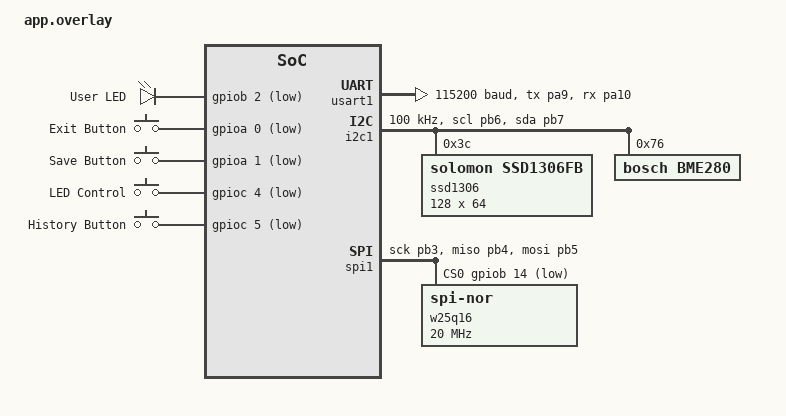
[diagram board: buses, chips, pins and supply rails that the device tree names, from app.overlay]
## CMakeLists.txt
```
cmake_minimum_required(VERSION 3.20)
find_package(Zephyr REQUIRED HINTS $ENV{ZEPHYR_BASE})
project(my_stm32_app)

target_sources(app PRIVATE src/main.c src/app_logic.c)
```

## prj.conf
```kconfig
# GPIO for LED
CONFIG_GPIO=y

# Console and Logging
CONFIG_LOG=y
CONFIG_LOG_MODE_IMMEDIATE=y
CONFIG_SERIAL=y
CONFIG_CONSOLE=y
CONFIG_UART_CONSOLE=y

# Floating Point Support for printk/LOG
CONFIG_CBPRINTF_FP_SUPPORT=y

# Stack Size
CONFIG_MAIN_STACK_SIZE=4096

# Heap (Required for CFB)
CONFIG_HEAP_MEM_POOL_SIZE=4096

# I2C and Display
CONFIG_I2C=y
CONFIG_DISPLAY=y
CONFIG_SSD1306=y
CONFIG_CHARACTER_FRAMEBUFFER=y

# SPI and Flash
CONFIG_SPI=y
CONFIG_FLASH=y
CONFIG_SPI_NOR=y

# Sensors
CONFIG_SENSOR=y
CONFIG_BME280=y
```

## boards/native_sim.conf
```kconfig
# Enable Simulation Drivers
CONFIG_GPIO_EMUL=n
CONFIG_FLASH_SIMULATOR=n
CONFIG_SPI=n
CONFIG_SPI_NOR=n

# Drivers
CONFIG_SENSOR=n
CONFIG_LM75=n
CONFIG_BME280=n

CONFIG_DISPLAY=n
CONFIG_DUMMY_DISPLAY=n
CONFIG_SSD1306=n

# Disable SDL
CONFIG_SDL_DISPLAY=n

# Console
CONFIG_UART_CONSOLE=y
CONFIG_SERIAL=y
CONFIG_CONSOLE=y
```

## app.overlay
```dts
/ {
	chosen {
		zephyr,console = &usart1;
		zephyr,shell-uart = &usart1;
		zephyr,display = &ssd1306;
	};

	aliases {
		led0 = &led_p6;
		oled0 = &ssd1306;
		temp0 = &bme280;
		flash0 = &w25q16;
		sw0 = &button_exit;
		sw1 = &button_save;
		sw2 = &button_led;
		sw3 = &button_hist;
	};

	leds {
		compatible = "gpio-leds";
		led_p6: led_p6 {
			gpios = <&gpiob 2 GPIO_ACTIVE_LOW>;
			label = "User LED";
		};
	};

	buttons {
		compatible = "gpio-keys";
		button_exit: button_0 {
			gpios = <&gpioa 0 (GPIO_PULL_UP | GPIO_ACTIVE_LOW)>;
			label = "Exit Button";
		};
		button_save: button_1 {
			gpios = <&gpioa 1 (GPIO_PULL_UP | GPIO_ACTIVE_LOW)>;
			label = "Save Button";
		};
		button_led: button_2 {
			gpios = <&gpioc 4 (GPIO_PULL_UP | GPIO_ACTIVE_LOW)>;
			label = "LED Control";
		};
		button_hist: button_3 {
			gpios = <&gpioc 5 (GPIO_PULL_UP | GPIO_ACTIVE_LOW)>;
			label = "History Button";
		};
	};
};

/* --- CLOCK FIX: USE HSI (INTERNAL 16MHz) INSTEAD OF HSE --- */
&clk_hsi {
	status = "okay";
};

&pll {
	div-m = <8>;
	mul-n = <168>;
	div-p = <2>;
	div-q = <7>;
	clocks = <&clk_hsi>;
	status = "okay";
};

&rcc {
	clocks = <&pll>;
	clock-frequency = <DT_FREQ_M(168)>;
};

/* --- UART CONFIG --- */
&usart1 {
	status = "okay";
	pinctrl-0 = <&usart1_tx_pa9 &usart1_rx_pa10>;
	pinctrl-names = "default";
	current-speed = <115200>;
};

/* --- I2C CONFIG (OLED + BME280) --- */
&i2c1 {
	status = "okay";
	pinctrl-0 = <&i2c1_scl_pb6 &i2c1_sda_pb7>;
	pinctrl-names = "default";
	clock-frequency = <I2C_BITRATE_STANDARD>;

	ssd1306: ssd1306@3c {
		compatible = "solomon,ssd1306fb";
		reg = <0x3c>;
		width = <128>;
		height = <64>;
		segment-offset = <0>;
		page-offset = <0>;
		display-offset = <0>;
		multiplex-ratio = <63>;
		segment-remap;
		com-invdir;
		prechargep = <0x22>;
	};

	bme280: bme280@76 {
		compatible = "bosch,bme280";
		reg = <0x76>;
	};
};

/* --- SPI CONFIG (W25Q16) --- */
&spi1 {
	status = "okay";
	pinctrl-0 = <&spi1_sck_pb3 &spi1_miso_pb4 &spi1_mosi_pb5>;
	pinctrl-names = "default";
	cs-gpios = <&gpiob 14 GPIO_ACTIVE_LOW>;

	w25q16: w25q16@0 {
		compatible = "jedec,spi-nor";
		reg = <0>;
		spi-max-frequency = <DT_FREQ_M(20)>;
		size = <0x1000000>; // 16Mbit = 2Mbyte
		jedec-id = [ef 40 15]; // W25Q16
	};
};
```

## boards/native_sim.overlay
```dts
/ {
	chosen {
		zephyr,display = &dummy_dc;
		zephyr,flash = &flash0;
	};

	aliases {
		led0 = &led0;
		oled0 = &dummy_dc;
		temp0 = &lm75;
		flash0 = &flash0;
		sw0 = &button0;
		sw1 = &button1;
		sw2 = &button2;
		sw3 = &button3;
	};

	buttons {
		compatible = "gpio-keys";
		button0: button_0 {
			gpios = <&gpio0 1 GPIO_ACTIVE_LOW>;
		};
		button1: button_1 {
			gpios = <&gpio0 2 GPIO_ACTIVE_LOW>;
		};
		button2: button_2 {
			gpios = <&gpio0 3 GPIO_ACTIVE_LOW>;
		};
		button3: button_3 {
			gpios = <&gpio0 4 GPIO_ACTIVE_LOW>;
		};
	};

	/* Dummy Display */
	dummy_dc: dummy_dc {
		compatible = "zephyr,dummy-dc";
		height = <64>;
		width = <128>;
		status = "okay";
	};
};

&i2c0 {
	status = "okay";
	lm75: lm75@48 {
		compatible = "lm75";
		reg = <0x48>;
		status = "okay";
	};
};

&flash0 {
	status = "okay";
};

&gpio0 {
	status = "okay";
};
```

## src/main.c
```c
#include <zephyr/kernel.h>
#include <zephyr/drivers/gpio.h>
#include <zephyr/drivers/sensor.h>
#include <zephyr/drivers/display.h>
#include <zephyr/display/cfb.h>
#include <zephyr/drivers/flash.h>
#include <zephyr/logging/log.h>
#include <stdio.h>
#include <math.h>
#include <string.h>
#include "app_logic.h"

LOG_MODULE_REGISTER(main);

/* --- Configuration --- */
#define STACK_SIZE 2048
#define PRIORITY 7
#define DEBOUNCE_DELAY_MS 50
#define MAX_RECORDS 1024
#define RECORD_SIZE sizeof(float)

/* --- Data Structures --- */
struct sensor_data {
	float temp;
	float press;
	float hum;
};

/* --- Global State --- */
#ifdef CONFIG_ZTEST
bool use_fahrenheit = false;
bool blink_led = true;
bool view_history = false;
uint32_t saved_count = 0;
uint32_t history_index = 0;
float last_live_temp = 0.0f;
#else
static bool use_fahrenheit = false;
static bool blink_led = true;
static bool view_history = false;
static uint32_t saved_count = 0;
static uint32_t history_index = 0;
static float last_live_temp = 0.0f;
#endif

/* --- Mock State --- */
#ifdef CONFIG_BOARD_NATIVE_SIM
float mock_temp_val = 25.5f;
uint8_t mock_flash_storage[4096];
int mock_gpio_state[32] = {0};
char last_oled_lines[4][64] = {0};
struct gpio_callback *registered_gpio_cb = NULL;
#ifdef CONFIG_ZTEST
const struct device *flash = (void*)0x3;
#endif

void mock_hardware_init(void) {
	memset(mock_flash_storage, 0xFF, sizeof(mock_flash_storage));
	memset(mock_gpio_state, 0, sizeof(mock_gpio_state));
	memset(last_oled_lines, 0, sizeof(last_oled_lines));
}
#endif

/* --- Message Queues --- */
K_MSGQ_DEFINE(sensor_msgq, sizeof(struct sensor_data), 10, 4);

/* --- Hardware Mocks (for native_sim) --- */
#include "native_sim_mocks.h"

/* --- Hardware Devices (Real) --- */
#ifndef CONFIG_BOARD_NATIVE_SIM
static const struct gpio_dt_spec led = GPIO_DT_SPEC_GET(DT_ALIAS(led0), gpios);
static const struct device *bme280  = DEVICE_DT_GET(DT_ALIAS(temp0));
static const struct device *display = DEVICE_DT_GET(DT_ALIAS(oled0));
static const struct device *flash   = DEVICE_DT_GET(DT_ALIAS(flash0));

/* Buttons */
static const struct gpio_dt_spec btn_exit = GPIO_DT_SPEC_GET(DT_ALIAS(sw0), gpios);
static const struct gpio_dt_spec btn_save = GPIO_DT_SPEC_GET(DT_ALIAS(sw1), gpios);
static const struct gpio_dt_spec btn_led  = GPIO_DT_SPEC_GET(DT_ALIAS(sw2), gpios);
static const struct gpio_dt_spec btn_hist = GPIO_DT_SPEC_GET(DT_ALIAS(sw3), gpios);
#endif

/* --- Flash Logic --- */
void flash_init_count(void)
{
	float val;
	saved_count = 0;
	while (saved_count < MAX_RECORDS) {
		flash_read(flash, saved_count * RECORD_SIZE, &val, RECORD_SIZE);
		if (!is_valid_record(val)) break;
		saved_count++;
	}
	LOG_INF("Found %d saved records", saved_count);
}

void flash_save_record(float temp)
{
	if (saved_count >= MAX_RECORDS) {
		LOG_WRN("Flash full, erasing history...");
		flash_erase(flash, 0, 4096);
		saved_count = 0;
	}
	flash_write(flash, saved_count * RECORD_SIZE, &temp, RECORD_SIZE);
	saved_count++;
	LOG_INF("Saved Temp %.2f to flash at index %d", (double)temp, saved_count - 1);
}

float flash_read_record(uint32_t index)
{
	float temp = 0.0f;
	if (index < saved_count) {
		flash_read(flash, index * RECORD_SIZE, &temp, RECORD_SIZE);
	}
	return temp;
}

/* --- Button Handlers --- */
struct k_work_delayable exit_btn_work;
void exit_btn_work_handler(struct k_work *work)
{
	if (gpio_pin_get_dt(&btn_exit)) {
		use_fahrenheit = !use_fahrenheit;
		LOG_INF("UI: Toggle C/F");
	}
}

static struct gpio_callback exit_btn_cb_data;
void exit_btn_isr(const struct device *dev, struct gpio_callback *cb, uint32_t pins)
{
	k_work_reschedule(&exit_btn_work, K_MSEC(DEBOUNCE_DELAY_MS));
}

/* --- Producer Thread --- */
void sensor_thread_entry(void *p1, void *p2, void *p3)
{
	struct sensor_value temp;
	struct sensor_data data = {0};
	while (1) {
		if (sensor_sample_fetch(bme280) == 0) {
			sensor_channel_get(bme280, SENSOR_CHAN_AMBIENT_TEMP, &temp);
			data.temp = (float)sensor_value_to_double(&temp);
			last_live_temp = data.temp;
			k_msgq_put(&sensor_msgq, &data, K_NO_WAIT);
		}
		k_msleep(2000);
	}
}

/* --- UI/OLED Thread --- */
void ui_thread_entry(void *p1, void *p2, void *p3)
{
	struct sensor_data data;
	char str[32];
	
	if (!device_is_ready(display)) {
		LOG_ERR("Display device not ready");
		return;
	}

	cfb_framebuffer_init(display);
	cfb_framebuffer_clear(display, true);
	display_blanking_off(display);
	cfb_print(display, "ZEPHYR PORT", 0, 0);
	cfb_framebuffer_finalize(display);
	int num_fonts = cfb_get_numof_fonts(display);
	for (int i = 0; i < num_fonts; i++) {
		uint8_t font_width, font_height;
		cfb_get_font_size(display, i, &font_width, &font_height);
		LOG_INF("Font[%d]: %dx%d", i, font_width, font_height);
	}
	cfb_framebuffer_set_font(display, 0);

	while (1) {
		k_msgq_get(&sensor_msgq, &data, K_MSEC(500));
		cfb_framebuffer_clear(display, false);

		if (!view_history) {
			cfb_print(display, "-LIVE VIEW-", 0, 0);
			format_temp_display(str, sizeof(str), last_live_temp, use_fahrenheit);
			cfb_print(display, str, 0, 15);
			cfb_print(display, "PA1:SAVE PC5:HIST", 0, 34);
		} else {
			float h_temp = flash_read_record(history_index);
			format_history_header(str, sizeof(str), history_index, saved_count);
			cfb_print(display, str, 0, 0);
			format_temp_display(str, sizeof(str), h_temp, use_fahrenheit);
			cfb_print(display, str, 0, 12);
			cfb_print(display, "PA1:NEXT PC5:EXIT", 0, 54);
		}

		cfb_framebuffer_finalize(display);
		if (blink_led) gpio_pin_toggle_dt(&led);
	}
}

/* --- Input Thread --- */
void input_thread_entry(void *p1, void *p2, void *p3)
{
	while (1) {
		if (gpio_pin_get_dt(&btn_led)) {
			blink_led = !blink_led;
			if (!blink_led) gpio_pin_set_dt(&led, 0);
			k_msleep(500);
		}
		if (gpio_pin_get_dt(&btn_save)) {
			if (!view_history) flash_save_record(last_live_temp);
			else history_index = get_next_history_index(history_index, saved_count);
			k_msleep(500);
		}
		if (gpio_pin_get_dt(&btn_hist)) {
			uint32_t start = k_uptime_get_32();
			bool erased = false;
			while (gpio_pin_get_dt(&btn_hist)) {
				if (k_uptime_get_32() - start > 2000) {
					LOG_INF("Erasing History...");
					flash_erase(flash, 0, 4096);
					saved_count = 0; view_history = false;
					erased = true;
					break;
				}
				k_msleep(10);
			}
			if (!erased) {
				view_history = !view_history;
				if (view_history && saved_count > 0) history_index = 0;
			}
			k_msleep(200);
		}
		k_msleep(50);
	}
}

void app_setup(void)
{
	gpio_pin_configure_dt(&led, GPIO_OUTPUT_INACTIVE);
	gpio_pin_configure_dt(&btn_exit, GPIO_INPUT);
	gpio_pin_configure_dt(&btn_save, GPIO_INPUT);
	gpio_pin_configure_dt(&btn_led,  GPIO_INPUT);
	gpio_pin_configure_dt(&btn_hist, GPIO_INPUT);

	flash_init_count();

	k_work_init_delayable(&exit_btn_work, exit_btn_work_handler);
	gpio_pin_interrupt_configure_dt(&btn_exit, GPIO_INT_EDGE_TO_ACTIVE);
	gpio_init_callback(&exit_btn_cb_data, exit_btn_isr, BIT(btn_exit.pin));
	gpio_add_callback(btn_exit.port, &exit_btn_cb_data);
}

#ifdef CONFIG_ZTEST
struct k_thread sensor_tid_data;
struct k_thread ui_tid_data;
struct k_thread input_tid_data;
k_tid_t sensor_tid = NULL;
k_tid_t ui_tid = NULL;
k_tid_t input_tid = NULL;
K_THREAD_STACK_DEFINE(sensor_stack, STACK_SIZE);
K_THREAD_STACK_DEFINE(ui_stack,     STACK_SIZE);
K_THREAD_STACK_DEFINE(input_stack,  STACK_SIZE);

void start_sensor_thread(void) {
	sensor_tid = k_thread_create(&sensor_tid_data, sensor_stack, STACK_SIZE, sensor_thread_entry, NULL, NULL, NULL, PRIORITY, 0, K_NO_WAIT);
}
void start_ui_thread(void) {
	ui_tid     = k_thread_create(&ui_tid_data, ui_stack, STACK_SIZE, ui_thread_entry, NULL, NULL, NULL, PRIORITY, 0, K_NO_WAIT);
}
void start_input_thread(void) {
	input_tid  = k_thread_create(&input_tid_data, input_stack, STACK_SIZE, input_thread_entry, NULL, NULL, NULL, PRIORITY, 0, K_NO_WAIT);
}

void start_app_threads(void) {
	start_sensor_thread();
	start_ui_thread();
	start_input_thread();
}

void stop_app_threads(void) {
	if (sensor_tid) { k_thread_abort(sensor_tid); sensor_tid = NULL; }
	if (ui_tid)     { k_thread_abort(ui_tid);     ui_tid = NULL; }
	if (input_tid)  { k_thread_abort(input_tid);  input_tid = NULL; }
}
#else
K_THREAD_DEFINE(sensor_tid, STACK_SIZE, sensor_thread_entry, NULL, NULL, NULL, PRIORITY, 0, 0);
K_THREAD_DEFINE(ui_tid,     STACK_SIZE, ui_thread_entry,     NULL, NULL, NULL, PRIORITY, 0, 0);
K_THREAD_DEFINE(input_tid,  STACK_SIZE, input_thread_entry,  NULL, NULL, NULL, PRIORITY, 0, 0);
#endif

#ifndef CONFIG_ZTEST
int main(void)
{
	app_setup();
	return 0;
}
#endif
```

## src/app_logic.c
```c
#include "app_logic.h"
#include <stdio.h>
#include <string.h>

float celsius_to_fahrenheit(float celsius)
{
	return (celsius * 9.0f / 5.0f) + 32.0f;
}

uint32_t get_next_history_index(uint32_t current_index, uint32_t saved_count)
{
	if (saved_count == 0) return 0;
	return (current_index + 1) % saved_count;
}

void format_temp_display(char *buf, size_t len, float temp, bool fahrenheit)
{
	float t = fahrenheit ? celsius_to_fahrenheit(temp) : temp;
	snprintf(buf, len, "Temp: %.2f %c", (double)t, fahrenheit ? 'F' : 'C');
}

void format_history_header(char *buf, size_t len, uint32_t index, uint32_t total)
{
	snprintf(buf, len, "- HIST [%d/%d] -", index + 1, total);
}

bool is_valid_record(float val)
{
	uint32_t raw;
	memcpy(&raw, &val, sizeof(val));
	return (raw != 0xFFFFFFFF);
}
```

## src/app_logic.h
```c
#ifndef APP_LOGIC_H
#define APP_LOGIC_H

#include <stdint.h>
#include <stdbool.h>

#include <stddef.h>

#define MAX_RECORDS 1024

/* Pure Logic: Temperature Conversion */
float celsius_to_fahrenheit(float celsius);

/* Logic: Calculate next history index */
uint32_t get_next_history_index(uint32_t current_index, uint32_t saved_count);

/* Logic: Format display strings */
void format_temp_display(char *buf, size_t len, float temp, bool fahrenheit);
void format_history_header(char *buf, size_t len, uint32_t index, uint32_t total);

/* Logic: Flash record validation */
bool is_valid_record(float val);

#endif
```

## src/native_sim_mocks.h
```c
#ifndef NATIVE_SIM_MOCKS_H
#define NATIVE_SIM_MOCKS_H

#ifdef CONFIG_BOARD_NATIVE_SIM
#include <zephyr/shell/shell.h>
#include <stdio.h>
#include <string.h>
#include <zephyr/device.h>
#include <zephyr/drivers/sensor.h>
#include <zephyr/drivers/gpio.h>

/* Mock State */
extern float mock_temp_val;
extern uint8_t mock_flash_storage[4096];
extern int mock_gpio_state[32]; // Track state per "pin"
extern char last_oled_lines[4][64];
extern struct gpio_callback *registered_gpio_cb;

/* Mock device pointers */
static const struct device *bme280  = (void*)0x1;
static const struct device *display = (void*)0x2;
#ifdef CONFIG_ZTEST
extern const struct device *flash;
#else
static const struct device *flash   = (void*)0x3;
#endif

/* Mock pin assignments for native_sim */
static const struct gpio_dt_spec led      = { .pin = 0 };
static const struct gpio_dt_spec btn_exit = { .pin = 1 };
static const struct gpio_dt_spec btn_save = { .pin = 2 };
static const struct gpio_dt_spec btn_led  = { .pin = 3 };
static const struct gpio_dt_spec btn_hist = { .pin = 4 };

/* Mock implementations */
static inline int mock_flash_read(const struct device *dev, off_t offset, void *data, size_t len) { 
    if (offset + len > 4096) return -1;
    memcpy(data, &mock_flash_storage[offset], len);
    return 0; 
}
#define flash_read mock_flash_read

static inline int mock_flash_write(const struct device *dev, off_t offset, const void *data, size_t len) { 
    if (offset + len > 4096) return -1;
    for (size_t i = 0; i < len; i++) {
        mock_flash_storage[offset + i] &= ((uint8_t*)data)[i];
    }
    return 0; 
}
#define flash_write mock_flash_write

static inline int mock_flash_erase(const struct device *dev, off_t offset, size_t size) { 
    if (offset + size > 4096) return -1;
    memset(&mock_flash_storage[offset], 0xFF, size);
    return 0; 
}
#define flash_erase mock_flash_erase

static inline int mock_sensor_sample_fetch(const struct device *dev) { return 0; }
#define sensor_sample_fetch mock_sensor_sample_fetch

static inline int mock_sensor_channel_get(const struct device *dev, enum sensor_channel chan, struct sensor_value *val) {
    val->val1 = (int32_t)mock_temp_val;
    val->val2 = (int32_t)((mock_temp_val - val->val1) * 1000000);
    return 0;
}
#define sensor_channel_get mock_sensor_channel_get

#define device_is_ready(dev) (true)
#define cfb_framebuffer_init(dev) (0)
#define cfb_framebuffer_clear(dev, clear) (0)
static inline int mock_cfb_print(const struct device *dev, const char *str, uint16_t x, uint16_t y) { 
    int line = y / 12; 
    if (line >= 0 && line < 4) strncpy(last_oled_lines[line], str, 63);
    return 0; 
}
#define cfb_print mock_cfb_print
#define cfb_framebuffer_finalize(dev) (0)
#define display_blanking_off(dev) (0)
#define cfb_get_numof_fonts(dev) (1)
static inline int mock_cfb_get_font_size(const struct device *dev, uint8_t idx, uint8_t *w, uint8_t *h) {
    *w = 8; *h = 16; return 0;
}
#define cfb_get_font_size mock_cfb_get_font_size
#define cfb_framebuffer_set_font(dev, idx) (0)

/* Enhanced GPIO Mocks */
#define gpio_pin_configure_dt(spec, flags) (0)
#define gpio_pin_set_dt(spec, val) (0)
static inline int mock_gpio_pin_get_dt(const struct gpio_dt_spec *spec) {
    return mock_gpio_state[spec->pin];
}
#define gpio_pin_get_dt mock_gpio_pin_get_dt
#define gpio_pin_toggle_dt(spec) (0)
#define gpio_pin_interrupt_configure_dt(spec, flags) (0)
#define gpio_init_callback(cb, hand, pins) { (cb)->handler = hand; (cb)->pin_mask = pins; }
static inline int mock_gpio_add_callback(const struct device *port, struct gpio_callback *callback) {
    registered_gpio_cb = callback; return 0;
}
#define gpio_add_callback mock_gpio_add_callback

/* Shell and Integration Helper */
static inline void mock_trigger_interrupt(void) {
    if (registered_gpio_cb && registered_gpio_cb->handler) {
        registered_gpio_cb->handler(NULL, registered_gpio_cb, registered_gpio_cb->pin_mask);
    }
}

/* Shell command logic */
extern bool use_fahrenheit;
extern bool blink_led;
extern bool view_history;
extern uint32_t saved_count;
extern uint32_t history_index;
extern float last_live_temp;
void flash_save_record(float temp);
uint32_t get_next_history_index(uint32_t current, uint32_t count);

static int cmd_mock_save(const struct shell *sh, size_t argc, char **argv) {
    mock_gpio_state[btn_save.pin] = 1;
    k_sleep(K_MSEC(100));
    mock_gpio_state[btn_save.pin] = 0;
    return 0;
}
static int cmd_mock_exit(const struct shell *sh, size_t argc, char **argv) {
    mock_gpio_state[btn_exit.pin] = 1; mock_trigger_interrupt(); 
    k_sleep(K_MSEC(100)); // Wait for debounce
    mock_gpio_state[btn_exit.pin] = 0;
    return 0;
}
static int cmd_mock_temp(const struct shell *sh, size_t argc, char **argv) {
    if (argc < 2) return -EINVAL;
    mock_temp_val = strtof(argv[1], NULL); return 0;
}

SHELL_CMD_REGISTER(mock_save, NULL, "Simulate Save button", cmd_mock_save);
SHELL_CMD_REGISTER(mock_exit, NULL, "Simulate SW0 (debounce)", cmd_mock_exit);
SHELL_CMD_REGISTER(mock_temp, NULL, "Set temp", cmd_mock_temp);

#endif /* CONFIG_BOARD_NATIVE_SIM */
#endif /* NATIVE_SIM_MOCKS_H */
```
